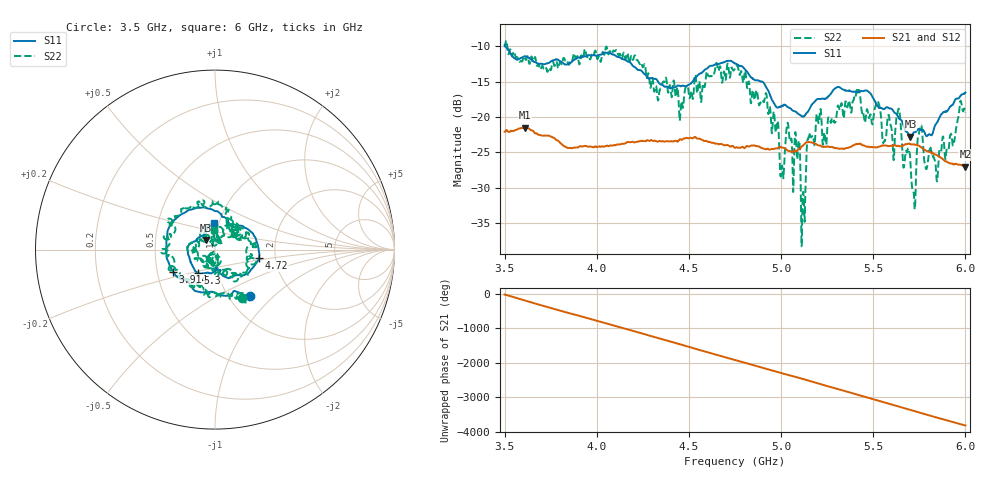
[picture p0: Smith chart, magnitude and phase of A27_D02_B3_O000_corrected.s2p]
! Created with skrf 1.9.0 (http://scikit-rf.org).
# Hz S RI R 50.0
!freq ReS11 ImS11 ReS21 ImS21 ReS12 ImS12 ReS22 ImS22
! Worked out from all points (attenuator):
!   1601 points, 3.5 GHz to 6 GHz, reference 50 ohm
!   highest |S21| = -21.52 dB at 3.611 GHz (marker M1); lowest = -27.0 dB at 6 GHz (marker M2)
!   lowest |S11| = -22.8 dB at 5.702 GHz (marker M3), VSWR 1.16, Z = 45 + j4.8 ohm
!   |S11| at or under -10 dB: 3.504 GHz to end of sweep
!   |S22| runs from -38.2 to -9.2 dB; largest |S21 - S12| = 0.00094
!   S11 on the Smith chart (normalised r, x): 3.5 GHz: 1.25, -0.72; 3.914 GHz: 0.61, -0.16; 4.72 GHz: 1.64, -0.16; 5.3 GHz: 0.80, -0.22; 6 GHz: 0.94, +0.29
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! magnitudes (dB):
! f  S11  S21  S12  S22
! 3.5 GHz  -9.9  -22.1  -22.1  -10.2
! 3.611 GHz  -11.4  -21.5  -21.5  -11.7
! 3.914 GHz  -11.6  -24.1  -24.1  -11.4
! 3.917 GHz  -11.6  -24.2  -24.2  -11.3
! 4.334 GHz  -15.1  -23.5  -23.4  -17.5
! 4.72 GHz  -12.1  -24.1  -24.1  -14.3
! 4.75 GHz  -12.4  -24.4  -24.3  -13.0
! 4.927 GHz  -16.1  -24.5  -24.5  -18.6
! 5.005 GHz  -18.4  -24.3  -24.3  -26.9
! 5.034 GHz  -18.6  -24.7  -24.6  -20.9
! 5.088 GHz  -19.4  -24.8  -24.7  -26.0
! 5.119 GHz  -19.9  -24.1  -24.0  -30.6
! 5.167 GHz  -18.2  -23.6  -23.6  -22.8
! 5.3 GHz  -15.9  -24.4  -24.4  -20.0
! 5.417 GHz  -16.5  -23.8  -23.8  -16.4
! 5.584 GHz  -18.8  -24.1  -24.1  -19.7
! 5.638 GHz  -20.1  -24.1  -24.1  -18.8
! 5.702 GHz  -22.8  -23.8  -23.8  -26.3
! 5.719 GHz  -22.2  -23.9  -23.8  -30.6
! 5.753 GHz  -21.8  -24.2  -24.1  -21.7
! 5.842 GHz  -20.9  -25.3  -25.3  -28.2
! 6 GHz  -16.5  -27.0  -26.9  -19.4
